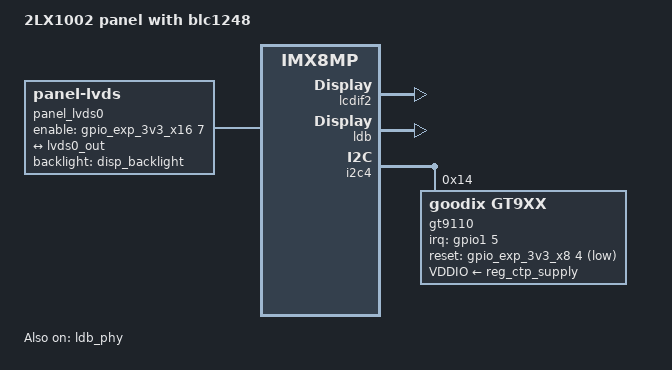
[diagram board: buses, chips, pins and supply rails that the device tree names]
/dts-v1/;

#include "imx8mp-egf-2lx100x.dtsi"

/ {
	model = "2LX1002 panel with blc1248";
	compatible = "fsl,imx8mp";


	panel_lvds0: panel-lvds0  {
		compatible = "panel-lvds";
		backlight = <&disp_backlight>;
		width-mm = <222>;
		height-mm = <125>;
		enable-gpios = <&gpio_exp_3v3_x16 7 0>;
		data-mapping = "vesa-24";

		panel-timing {
			clock-frequency = <49500000>;
			hactive = <1024>;
			vactive = <600>;
			hback-porch = <160>;
			hfront-porch = <160>;
			vback-porch = <23>;
			vfront-porch = <12>;
			hsync-len = <10>;
			vsync-len = <10>;
			de-active = <1>;
			vsync-active = <0>;
			hsync-active = <0>;
			pixelclk-active = <1>;
		};

		port {
			panel0_in: endpoint {
				remote-endpoint = <&lvds0_out>;
			};
		};


	};

};

&clk {
	assigned-clock-rates = <0>, <0>,
							<1000000000>,
							<800000000>,
							<500000000>,
							<400000000>,
							<800000000>,
							<393216000>,
							<361267200>,
							<1039500000>,
							<363825000>;
};

/* LVDS */
&lcdif2 {
	status = "okay";
};

&ldb {
	status = "okay";

	lvds-channel@0 {
		fsl,data-mapping = "spwg";
		fsl,data-width = <24>;
		status = "okay";
		
		port@1 {
			reg = <1>;
			lvds0_out: endpoint {
				remote-endpoint = <&panel0_in>;
			};
		};
	};
};

&ldb_phy {
	status = "okay";
};

&i2c4 {
		gt9110@14 {
		compatible = "goodix,gt9xx";
		status = "okay";
		reg = <0x14>;
		pinctrl-names = "default";
		pinctrl-0 = <&pinctrl_ts>;
		VDDIO-supply = <&reg_ctp_supply>;
		edge-failling-trigger;
		interrupt-parent = <&gpio1>;
		interrupts = <5 IRQ_TYPE_EDGE_FALLING>;
		irq-gpios = <&gpio1 5 GPIO_ACTIVE_HIGH>;
		reset-gpios = <&gpio_exp_3v3_x8 4 GPIO_ACTIVE_LOW>;

		touchscreen-size-x = <1024>;
		touchscreen-size-y = <600>;


		touchscreen-max-id = <11>;
		touchscreen-max-w = <512>;
		touchscreen-max-p = <512>;

		goodix,slide-wakeup = <0>;
		goodix,type-a-report = <0>;
		goodix,driver-send-cfg = <0>;
		goodix,resume-in-workqueue = <0>;
		goodix,int-sync = <1>;
		goodix,swap-x2y = <0>;
		goodix,esd-protect = <1>;
		goodix,auto-update-cfg = <0>;
		goodix,auto-update = <0>;
		goodix,power-off-sleep = <0>;
		goodix,pen-suppress-finger = <0>;
		goodix,cfg-group0 = [];
    };	

};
